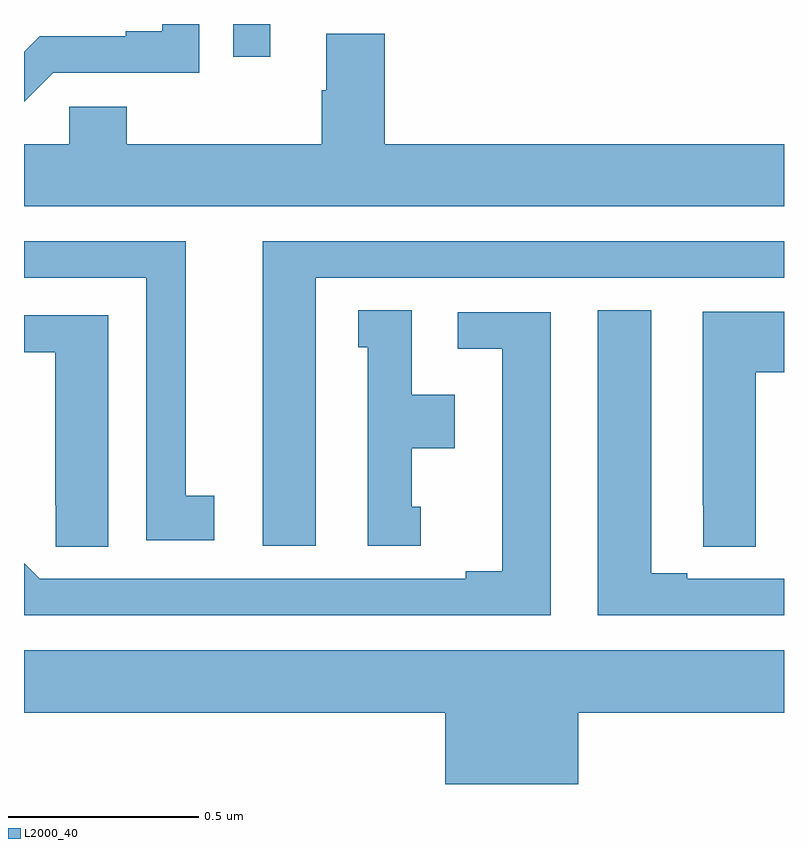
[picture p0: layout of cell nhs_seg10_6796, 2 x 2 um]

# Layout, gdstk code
import gdstk
lib = gdstk.Library(unit=1e-6, precision=1e-09)
def R(c, l, rs):  # rectangles x0, y0, x1, y1
    for r in rs: c.add(gdstk.rectangle(r[:2], r[2:], *l))
def P(c, l, *ps):  # polygons
    for p in ps: c.add(gdstk.Polygon(p, *l))
L2000_40 = (2000, 40)

nhs_seg10_6796 = lib.new_cell('nhs_seg10_6796')
R(nhs_seg10_6796, L2000_40, [(196.551,1263.414,196.648,1263.5)])
P(nhs_seg10_6796, L2000_40, [(196.077,1263.372),(196.461,1263.372),(196.461,1263.5),(196.364,1263.5),(196.364,1263.481),(196.268,1263.481),(196.268,1263.468),(196.041,1263.468),(196,1263.427),(196,1263.295)],
  [(198,1263.184),(196.949,1263.184),(196.949,1263.475),(196.796,1263.475),(196.796,1263.326),(196.784,1263.326),(196.784,1263.184),(196.271,1263.184),(196.271,1263.282),(196.119,1263.282),(196.119,1263.184),(196,1263.184),(196,1263.02),(198,1263.02)],
  [(196.501,1262.258),(196.426,1262.258),(196.426,1262.928),(196,1262.928),(196,1262.832),(196.322,1262.832),(196.322,1262.142),(196.501,1262.142)],
  [(196.768,1262.832),(198,1262.832),(198,1262.928),(196.628,1262.928),(196.628,1262.127),(196.768,1262.127)],
  [(198,1262.04),(197.746,1262.04),(197.746,1262.055),(197.65,1262.055),(197.65,1262.747),(197.51,1262.747),(197.51,1261.944),(198,1261.944)],
  [(197.044,1262.229),(197.02,1262.229),(197.02,1262.384),(197.134,1262.384),(197.134,1262.524),(197.02,1262.524),(197.02,1262.747),(196.88,1262.747),(196.88,1262.649),(196.904,1262.649),(196.904,1262.127),(197.044,1262.127)],
  [(197.926,1262.584),(198,1262.584),(198,1262.743),(197.786,1262.743),(197.786,1262.233),(197.787,1262.233),(197.787,1262.125),(197.926,1262.125)],
  [(197.386,1262.742),(197.142,1262.742),(197.142,1262.646),(197.258,1262.646),(197.258,1262.06),(197.162,1262.06),(197.162,1262.04),(196.041,1262.04),(196,1262.081),(196,1261.945),(196.001,1261.944),(197.386,1261.944)],
  [(196.222,1262.733),(196,1262.733),(196,1262.636),(196.082,1262.636),(196.082,1262.233),(196.083,1262.233),(196.083,1262.125),(196.222,1262.125)],
  [(197.458,1261.688),(198,1261.688),(198,1261.852),(196,1261.852),(196,1261.688),(197.108,1261.688),(197.108,1261.5),(197.458,1261.5)])

lib.write_gds('nhs_seg10_6796.gds')
